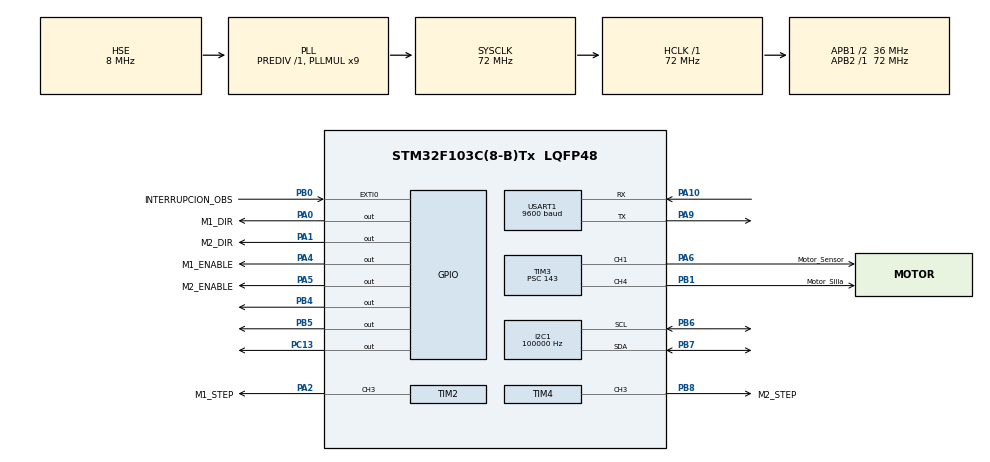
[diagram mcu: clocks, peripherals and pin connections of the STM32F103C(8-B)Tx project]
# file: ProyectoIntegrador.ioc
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I2C1.ClockSpeed=100000
I2C1.I2C_Mode=I2C_Standard
Mcu.Family=STM32F1
Mcu.Name=STM32F103C(8-B)Tx
Mcu.Package=LQFP48
NVIC.EXTI0_IRQn=true\:0\:0\:true\:false\:true\:true\:true\:true
NVIC.I2C1_ER_IRQn=true\:0\:0\:true\:false\:true\:true\:true\:true
NVIC.I2C1_EV_IRQn=true\:0\:0\:true\:false\:true\:true\:true\:true
NVIC.PriorityGroup=NVIC_PRIORITYGROUP_4
NVIC.TIM1_UP_IRQn=true\:0\:0\:true\:false\:true\:true\:true\:true
NVIC.TIM2_IRQn=true\:0\:0\:true\:false\:true\:true\:true\:true
NVIC.TIM3_IRQn=true\:0\:0\:true\:false\:true\:true\:true\:true
NVIC.TIM4_IRQn=true\:0\:0\:true\:false\:true\:true\:true\:true
NVIC.USART1_IRQn=true\:0\:0\:true\:false\:true\:true\:true\:true
PA0-WKUP.GPIO_Label=M1_DIR
PA0-WKUP.Signal=GPIO_Output
PA1.GPIO_Label=M2_DIR
PA1.Signal=GPIO_Output
PA10.Mode=Asynchronous
PA10.Signal=USART1_RX
PA13.Mode=Serial_Wire
PA13.Signal=SYS_JTMS-SWDIO
PA14.Mode=Serial_Wire
PA14.Signal=SYS_JTCK-SWCLK
PA2.GPIO_Label=M1_STEP
PA2.Signal=S_TIM2_CH3
PA4.GPIO_Label=M1_ENABLE
PA4.Signal=GPIO_Output
PA5.GPIO_Label=M2_ENABLE
PA5.Signal=GPIO_Output
PA6.GPIO_Label=Motor_Sensor
PA6.Signal=S_TIM3_CH1
PA9.GPIO_Speed=GPIO_SPEED_FREQ_MEDIUM
PA9.Mode=Asynchronous
PA9.Signal=USART1_TX
PB0.GPIO_Label=INTERRUPCION_OBS
PB0.GPIO_ModeDefaultEXTI=GPIO_MODE_IT_RISING_FALLING
PB0.GPIO_PuPd=GPIO_PULLDOWN
PB0.Signal=GPXTI0
PB1.GPIO_Label=Motor_Silla
PB1.Signal=S_TIM3_CH4
PB4.Signal=GPIO_Output
PB5.Signal=GPIO_Output
PB6.Mode=I2C
PB6.Signal=I2C1_SCL
PB7.Mode=I2C
PB7.Signal=I2C1_SDA
PB8.GPIO_Label=M2_STEP
PB8.Signal=S_TIM4_CH3
PC13-TAMPER-RTC.Signal=GPIO_Output
PD0-OSC_IN.Mode=HSE-External-Oscillator
PD0-OSC_IN.Signal=RCC_OSC_IN
PD1-OSC_OUT.Mode=HSE-External-Oscillator
PD1-OSC_OUT.Signal=RCC_OSC_OUT
ProjectManager.HeapSize=0x200
ProjectManager.StackSize=0x400
ProjectManager.TargetToolchain=STM32CubeIDE
RCC.AHBFreq_Value=72000000
RCC.APB1CLKDivider=RCC_HCLK_DIV2
RCC.APB1Freq_Value=36000000
RCC.APB1TimFreq_Value=72000000
RCC.APB2Freq_Value=72000000
RCC.APB2TimFreq_Value=72000000
RCC.HCLKFreq_Value=72000000
RCC.PLLMUL=RCC_PLL_MUL9
RCC.PLLSourceVirtual=RCC_PLLSOURCE_HSE
RCC.SYSCLKFreq_VALUE=72000000
RCC.SYSCLKSource=RCC_SYSCLKSOURCE_PLLCLK
RCC.USBFreq_Value=72000000
SH.S_TIM2_CH3.0=TIM2_CH3,PWM Generation3 CH3
SH.S_TIM3_CH1.0=TIM3_CH1,PWM Generation1 CH1
SH.S_TIM3_CH4.0=TIM3_CH4,PWM Generation4 CH4
SH.S_TIM4_CH3.0=TIM4_CH3,PWM Generation3 CH3
TIM1.Period=19
TIM1.Prescaler=3599
TIM2.Channel-PWM\ Generation3\ CH3=TIM_CHANNEL_3
TIM2.Period=7199
TIM2.Prescaler=999
TIM2.Pulse-PWM\ Generation3\ CH3=3500
TIM3.Channel-PWM\ Generation1\ CH1=TIM_CHANNEL_1
TIM3.Channel-PWM\ Generation4\ CH4=TIM_CHANNEL_4
TIM3.Period=9999
TIM3.Prescaler=143
TIM3.Pulse-PWM\ Generation1\ CH1=749
TIM3.Pulse-PWM\ Generation4\ CH4=749
TIM4.Channel-PWM\ Generation3\ CH3=TIM_CHANNEL_3
TIM4.Period=7199
TIM4.Prescaler=999
TIM4.Pulse-PWM\ Generation3\ CH3=3500
USART1.BaudRate=9600
USART1.VirtualMode=VM_ASYNC
VP_TIM1_VS_ClockSourceINT.Mode=Internal
VP_TIM2_VS_ClockSourceINT.Mode=Internal
VP_TIM3_VS_ClockSourceINT.Mode=Internal
VP_TIM4_VS_ClockSourceINT.Mode=Internal
board=custom

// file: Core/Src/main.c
/* USER CODE BEGIN Header */
/**
  ******************************************************************************
  * @file           : main.c
  * @brief          : Main program body
  ******************************************************************************
  * @attention
  *
  * Copyright (c) 2023 STMicroelectronics.
  * All rights reserved.
  *
  * This software is licensed under terms that can be found in the LICENSE file
  * in the root directory of this software component.
  * If no LICENSE file comes with this software, it is provided AS-IS.
  *
  ******************************************************************************
  */
/* USER CODE END Header */
#include "main.h"

/* USER CODE BEGIN PM */

//////////////////////////////////// Librerias utilizadas
#include "stdio.h"
#include "string.h"
#include "math.h"
#include <stdlib.h>
#include <stdbool.h>
#include <ctype.h>
#include "stm32f1xx_hal.h"
////////////////////////////////////

//////////////////////////////////// Definiciones
#define ValorMinCCR 99
#define RAD_TO_DEG 57.2957795131f
#define MPU6050_ADDRESS 0xD0
#define ACELERACION_RAMP_INICIO 0.1
#define ACELERACION_RAMP_FINAL 0.1
#define Buf_Max 20
#define X_MAX_DIFF 485
#define Y_MAX_DIFF 485
#define MAX_SPEED 510
#define MAX_SPEED_X 500
#define MAX_SPEED_Y 1000
#define CORRECTION_VALUE 5
#define PWM_MIN 50
#define PWM_MAX 100
#define X_CENTER 510
#define Y_CENTER 510
#define JOYSTICK_TOLERANCE 30
#define ALPHA 0.999
#define THRESHOLD 0.001
#define JOYSTICK_DEADZONE 300
#define UMBRAL_MOVIMIENTO 2.0
#define NUM_LECTURAS 3
#define UMBRAL_CONSISTENCIA 2.0
#define Angle_0 0

#define INTERVALO_ECO 500
#define MAX_INTENTOS_SIN_RESPUESTA 3

////////////////////////////////////

//////////////////////////////////// Variables globales

volatile uint32_t contadorEco = 0;
volatile uint8_t intentosSinRespuesta = 0;
float ultimaPosicionSignificativa = 0;
float lecturasAngulo[NUM_LECTURAS] = {0};
int indiceLectura = 0;
#define ALPHA_FILTRO 0.1
#define UMBRAL_VIBRACION 1.2
static float axFiltrado = 0, ayFiltrado = 0, azFiltrado = 0;

enum estado {
    ENERGIZADA,
    ANDANDO,
	BLOQUEADA,
};
volatile enum estado ESTADO;
const char* stateStr = NULL;
const char* OK = "K\r";
typedef struct {
    float ax, ay, az, gx, gy, gz;
    float Acc;
    float Gy;
    float Angle;
} MPU6050_Data;
MPU6050_Data mpuData;

typedef struct {
    uint8_t xData[5];
    uint8_t yData[5];
    uint16_t x;
    uint16_t y;
} JoystickData;
JoystickData joystick;

typedef struct {
    uint16_t velocidadPrev;
    uint16_t velocidadObjetivo;
    uint16_t CCR;
    uint8_t paso;
    uint16_t contador;
    uint8_t dir;
    uint8_t dirPrev;
    uint16_t diferenciaprincipal;
    uint16_t Prescaler;
    uint16_t flag;
} MotorState;
MotorState motor1State, motor2State;

uint8_t Buffer[Buf_Max];
uint8_t RData;

uint32_t Frec=0;

uint16_t valor_pwm_silla;
uint16_t valor_pwm_sensor;
uint8_t obstaculo = 1;
uint8_t command_index = 0;

uint8_t Min_CCR = 49;
uint16_t Angulo;

uint8_t data_tx[2];
uint8_t data_rx[15];

float gyroRate = 0.0;
float Angleprev;
float complementaryAngle = 0.0;
uint32_t previousTime = 0;
uint8_t flagMPU;
volatile uint8_t procesarMPU = 0;
////////////////////////////////////

//////////////////////////////////// Declaracion de funciones
void Interpretar_Comando(void);
void ProcessReceivedData(uint8_t);
void HandleCommandE(void);
void HandleCombinedXYCommand(void);
void HandleCommandE(void);
void HandleCommandA(void);
void HandleCommandB(void);
void SendCurrentState(void);

void Accionar_Motor_Silla (float);
void Accionar_Motor_Sensor();

void MPU6050_Init(void);
void MPU6050_Reset(void);
void AccionarMPU(void);
uint8_t MPU6050_Read_Data(void);
float MPU6050_Get_ax(void);
float MPU6050_Get_ay(void);
float MPU6050_Get_az(void);
float MPU6050_Get_Gx(void);
float MPU6050_Get_Gy(void);
float MPU6050_Get_Gz(void);
float MPU6050_Get_Temperature(void);

void InicializarMotorState(MotorState *);
uint16_t Valor_Prescaler(uint16_t, MotorState *);
void calcularVelocidadMotores(void);
void Rampa_Motor(MotorState *, TIM_HandleTypeDef *, uint32_t, uint16_t, uint16_t);
void calcularpaso(MotorState *);

bool isJoystickAtCenterY(void);
bool isJoystickAtCenterX(void);

float CalcularPromedio(float *, int);
bool VerificarConsistencia(float *, int, float);
float filtroPasoBajo(float, float, float);

void MiDelay(uint32_t);
////////////////////////////////////

/* USER CODE END PM */

I2C_HandleTypeDef hi2c1;

TIM_HandleTypeDef htim1;
TIM_HandleTypeDef htim2;
TIM_HandleTypeDef htim3;
TIM_HandleTypeDef htim4;

UART_HandleTypeDef huart1;

void SystemClock_Config(void);
static void MX_GPIO_Init(void);
static void MX_USART1_UART_Init(void);
static void MX_TIM3_Init(void);
static void MX_TIM2_Init(void);
static void MX_I2C1_Init(void);
static void MX_TIM1_Init(void);
static void MX_TIM4_Init(void);

int main(void)
{

  /* MCU Configuration--------------------------------------------------------*/

  /* Reset of all peripherals, Initializes the Flash interface and the Systick. */
  HAL_Init();

  /* Configure the system clock */
  SystemClock_Config();

  /* Initialize all configured peripherals */
  MX_GPIO_Init();
  MX_USART1_UART_Init();
  MX_TIM3_Init();
  MX_TIM2_Init();
  MX_I2C1_Init();
  MX_TIM1_Init();
  MX_TIM4_Init();
  /* USER CODE BEGIN 2 */

  InicializarMotorState(&motor1State);
  InicializarMotorState(&motor2State);

  ESTADO = ENERGIZADA;

  HAL_TIM_Base_Start_IT(&htim1);
  HAL_TIM_Base_Start_IT(&htim2);
  HAL_TIM_Base_Start_IT(&htim3);
  HAL_TIM_Base_Start_IT(&htim4);

  HAL_TIM_PWM_Start(&htim3, TIM_CHANNEL_1); // MOTOR SENSOR
  HAL_TIM_PWM_Start(&htim3, TIM_CHANNEL_4); // MOTOR SILLA

  HAL_GPIO_WritePin(GPIOA, M1_ENABLE_Pin, GPIO_PIN_SET);
  HAL_GPIO_WritePin(GPIOA, M2_ENABLE_Pin, GPIO_PIN_SET);

  HAL_UART_Receive_IT(&huart1,&RData, 1);

  MPU6050_Init();

  SendCurrentState();
  HAL_TIM_PWM_Stop(&htim3, TIM_CHANNEL_1); // MOTOR SENSOR
  HAL_TIM_PWM_Stop(&htim3, TIM_CHANNEL_4); // MOTOR SILLA
  /* USER CODE END 2 */

  /* Infinite loop */
  while (1)
  {

    /* USER CODE BEGIN 3 */
	if (procesarMPU) {
		AccionarMPU();
		procesarMPU = 0;
	}
  }
  /* USER CODE END 3 */
}

void SystemClock_Config(void)
{
  RCC_OscInitTypeDef RCC_OscInitStruct = {0};
  RCC_ClkInitTypeDef RCC_ClkInitStruct = {0};

  /** Initializes the RCC Oscillators according to the specified parameters
  * in the RCC_OscInitTypeDef structure.
  */
  RCC_OscInitStruct.OscillatorType = RCC_OSCILLATORTYPE_HSE;
  RCC_OscInitStruct.HSEState = RCC_HSE_ON;
  RCC_OscInitStruct.HSEPredivValue = RCC_HSE_PREDIV_DIV1;
  RCC_OscInitStruct.HSIState = RCC_HSI_ON;
  RCC_OscInitStruct.PLL.PLLState = RCC_PLL_ON;
  RCC_OscInitStruct.PLL.PLLSource = RCC_PLLSOURCE_HSE;
  RCC_OscInitStruct.PLL.PLLMUL = RCC_PLL_MUL9;
  if (HAL_RCC_OscConfig(&RCC_OscInitStruct) != HAL_OK)
  {
    Error_Handler();
  }

  /** Initializes the CPU, AHB and APB buses clocks
  */
  RCC_ClkInitStruct.ClockType = RCC_CLOCKTYPE_HCLK|RCC_CLOCKTYPE_SYSCLK
                              |RCC_CLOCKTYPE_PCLK1|RCC_CLOCKTYPE_PCLK2;
  RCC_ClkInitStruct.SYSCLKSource = RCC_SYSCLKSOURCE_PLLCLK;
  RCC_ClkInitStruct.AHBCLKDivider = RCC_SYSCLK_DIV1;
  RCC_ClkInitStruct.APB1CLKDivider = RCC_HCLK_DIV2;
  RCC_ClkInitStruct.APB2CLKDivider = RCC_HCLK_DIV1;

  if (HAL_RCC_ClockConfig(&RCC_ClkInitStruct, FLASH_LATENCY_2) != HAL_OK)
  {
    Error_Handler();
  }
}

static void MX_I2C1_Init(void)
{

  hi2c1.Instance = I2C1;
  hi2c1.Init.ClockSpeed = 100000;
  hi2c1.Init.DutyCycle = I2C_DUTYCYCLE_2;
  hi2c1.Init.OwnAddress1 = 0;
  hi2c1.Init.AddressingMode = I2C_ADDRESSINGMODE_7BIT;
  hi2c1.Init.DualAddressMode = I2C_DUALADDRESS_DISABLE;
  hi2c1.Init.OwnAddress2 = 0;
  hi2c1.Init.GeneralCallMode = I2C_GENERALCALL_DISABLE;
  hi2c1.Init.NoStretchMode = I2C_NOSTRETCH_DISABLE;
  if (HAL_I2C_Init(&hi2c1) != HAL_OK)
  {
    Error_Handler();
  }

}

static void MX_TIM1_Init(void)
{

  TIM_ClockConfigTypeDef sClockSourceConfig = {0};
  TIM_MasterConfigTypeDef sMasterConfig = {0};

  htim1.Instance = TIM1;
  htim1.Init.Prescaler = 3599;
  htim1.Init.CounterMode = TIM_COUNTERMODE_UP;
  htim1.Init.Period = 19;
  htim1.Init.ClockDivision = TIM_CLOCKDIVISION_DIV1;
  htim1.Init.RepetitionCounter = 0;
  htim1.Init.AutoReloadPreload = TIM_AUTORELOAD_PRELOAD_DISABLE;
  if (HAL_TIM_Base_Init(&htim1) != HAL_OK)
  {
    Error_Handler();
  }
  sClockSourceConfig.ClockSource = TIM_CLOCKSOURCE_INTERNAL;
  if (HAL_TIM_ConfigClockSource(&htim1, &sClockSourceConfig) != HAL_OK)
  {
    Error_Handler();
  }
  sMasterConfig.MasterOutputTrigger = TIM_TRGO_RESET;
  sMasterConfig.MasterSlaveMode = TIM_MASTERSLAVEMODE_DISABLE;
  if (HAL_TIMEx_MasterConfigSynchronization(&htim1, &sMasterConfig) != HAL_OK)
  {
    Error_Handler();
  }

}

static void MX_TIM2_Init(void)
{

  TIM_ClockConfigTypeDef sClockSourceConfig = {0};
  TIM_MasterConfigTypeDef sMasterConfig = {0};
  TIM_OC_InitTypeDef sConfigOC = {0};

  htim2.Instance = TIM2;
  htim2.Init.Prescaler = 999;
  htim2.Init.CounterMode = TIM_COUNTERMODE_UP;
  htim2.Init.Period = 7199;
  htim2.Init.ClockDivision = TIM_CLOCKDIVISION_DIV1;
  htim2.Init.AutoReloadPreload = TIM_AUTORELOAD_PRELOAD_DISABLE;
  if (HAL_TIM_Base_Init(&htim2) != HAL_OK)
  {
    Error_Handler();
  }
  sClockSourceConfig.ClockSource = TIM_CLOCKSOURCE_INTERNAL;
  if (HAL_TIM_ConfigClockSource(&htim2, &sClockSourceConfig) != HAL_OK)
  {
    Error_Handler();
  }
  if (HAL_TIM_PWM_Init(&htim2) != HAL_OK)
  {
    Error_Handler();
  }
  sMasterConfig.MasterOutputTrigger = TIM_TRGO_RESET;
  sMasterConfig.MasterSlaveMode = TIM_MASTERSLAVEMODE_DISABLE;
  if (HAL_TIMEx_MasterConfigSynchronization(&htim2, &sMasterConfig) != HAL_OK)
  {
    Error_Handler();
  }
  sConfigOC.OCMode = TIM_OCMODE_PWM1;
  sConfigOC.Pulse = 3500;
  sConfigOC.OCPolarity = TIM_OCPOLARITY_HIGH;
  sConfigOC.OCFastMode = TIM_OCFAST_DISABLE;
  if (HAL_TIM_PWM_ConfigChannel(&htim2, &sConfigOC, TIM_CHANNEL_3) != HAL_OK)
  {
    Error_Handler();
  }
  HAL_TIM_MspPostInit(&htim2);

}

static void MX_TIM3_Init(void)
{

  TIM_ClockConfigTypeDef sClockSourceConfig = {0};
  TIM_MasterConfigTypeDef sMasterConfig = {0};
  TIM_OC_InitTypeDef sConfigOC = {0};

  htim3.Instance = TIM3;
  htim3.Init.Prescaler = 143;
  htim3.Init.CounterMode = TIM_COUNTERMODE_UP;
  htim3.Init.Period = 9999;
  htim3.Init.ClockDivision = TIM_CLOCKDIVISION_DIV1;
  htim3.Init.AutoReloadPreload = TIM_AUTORELOAD_PRELOAD_DISABLE;
  if (HAL_TIM_Base_Init(&htim3) != HAL_OK)
  {
    Error_Handler();
  }
  sClockSourceConfig.ClockSource = TIM_CLOCKSOURCE_INTERNAL;
  if (HAL_TIM_ConfigClockSource(&htim3, &sClockSourceConfig) != HAL_OK)
  {
    Error_Handler();
  }
  if (HAL_TIM_PWM_Init(&htim3) != HAL_OK)
  {
    Error_Handler();
  }
  sMasterConfig.MasterOutputTrigger = TIM_TRGO_RESET;
  sMasterConfig.MasterSlaveMode = TIM_MASTERSLAVEMODE_DISABLE;
  if (HAL_TIMEx_MasterConfigSynchronization(&htim3, &sMasterConfig) != HAL_OK)
  {
    Error_Handler();
  }
  sConfigOC.OCMode = TIM_OCMODE_PWM1;
  sConfigOC.Pulse = 749;
  sConfigOC.OCPolarity = TIM_OCPOLARITY_HIGH;
  sConfigOC.OCFastMode = TIM_OCFAST_DISABLE;
  if (HAL_TIM_PWM_ConfigChannel(&htim3, &sConfigOC, TIM_CHANNEL_1) != HAL_OK)
  {
    Error_Handler();
  }
  if (HAL_TIM_PWM_ConfigChannel(&htim3, &sConfigOC, TIM_CHANNEL_4) != HAL_OK)
  {
    Error_Handler();
  }
  HAL_TIM_MspPostInit(&htim3);

}

static void MX_TIM4_Init(void)
{

  TIM_ClockConfigTypeDef sClockSourceConfig = {0};
  TIM_MasterConfigTypeDef sMasterConfig = {0};
  TIM_OC_InitTypeDef sConfigOC = {0};

  htim4.Instance = TIM4;
  htim4.Init.Prescaler = 999;
  htim4.Init.CounterMode = TIM_COUNTERMODE_UP;
  htim4.Init.Period = 7199;
  htim4.Init.ClockDivision = TIM_CLOCKDIVISION_DIV1;
  htim4.Init.AutoReloadPreload = TIM_AUTORELOAD_PRELOAD_DISABLE;
  if (HAL_TIM_Base_Init(&htim4) != HAL_OK)
  {
    Error_Handler();
  }
  sClockSourceConfig.ClockSource = TIM_CLOCKSOURCE_INTERNAL;
  if (HAL_TIM_ConfigClockSource(&htim4, &sClockSourceConfig) != HAL_OK)
  {
    Error_Handler();
  }
  if (HAL_TIM_PWM_Init(&htim4) != HAL_OK)
  {
    Error_Handler();
  }
  sMasterConfig.MasterOutputTrigger = TIM_TRGO_RESET;
  sMasterConfig.MasterSlaveMode = TIM_MASTERSLAVEMODE_DISABLE;
  if (HAL_TIMEx_MasterConfigSynchronization(&htim4, &sMasterConfig) != HAL_OK)
  {
    Error_Handler();
  }
  sConfigOC.OCMode = TIM_OCMODE_PWM1;
  sConfigOC.Pulse = 3500;
  sConfigOC.OCPolarity = TIM_OCPOLARITY_HIGH;
  sConfigOC.OCFastMode = TIM_OCFAST_DISABLE;
  if (HAL_TIM_PWM_ConfigChannel(&htim4, &sConfigOC, TIM_CHANNEL_3) != HAL_OK)
  {
    Error_Handler();
  }
  HAL_TIM_MspPostInit(&htim4);

}

static void MX_USART1_UART_Init(void)
{

  huart1.Instance = USART1;
  huart1.Init.BaudRate = 9600;
  huart1.Init.WordLength = UART_WORDLENGTH_8B;
  huart1.Init.StopBits = UART_STOPBITS_1;
  huart1.Init.Parity = UART_PARITY_NONE;
  huart1.Init.Mode = UART_MODE_TX_RX;
  huart1.Init.HwFlowCtl = UART_HWCONTROL_NONE;
  huart1.Init.OverSampling = UART_OVERSAMPLING_16;
  if (HAL_UART_Init(&huart1) != HAL_OK)
  {
    Error_Handler();
  }

}

static void MX_GPIO_Init(void)
{
  GPIO_InitTypeDef GPIO_InitStruct = {0};

  /* GPIO Ports Clock Enable */
  __HAL_RCC_GPIOC_CLK_ENABLE();
  __HAL_RCC_GPIOD_CLK_ENABLE();
  __HAL_RCC_GPIOA_CLK_ENABLE();
  __HAL_RCC_GPIOB_CLK_ENABLE();

  /*Configure GPIO pin Output Level */
  HAL_GPIO_WritePin(GPIOC, GPIO_PIN_13, GPIO_PIN_RESET);

  /*Configure GPIO pin Output Level */
  HAL_GPIO_WritePin(GPIOA, M1_DIR_Pin|M2_DIR_Pin|M1_ENABLE_Pin|M2_ENABLE_Pin, GPIO_PIN_RESET);

  /*Configure GPIO pin Output Level */
  HAL_GPIO_WritePin(GPIOB, GPIO_PIN_4|GPIO_PIN_5, GPIO_PIN_RESET);

  /*Configure GPIO pin : PC13 */
  GPIO_InitStruct.Pin = GPIO_PIN_13;
  GPIO_InitStruct.Mode = GPIO_MODE_OUTPUT_PP;
  GPIO_InitStruct.Pull = GPIO_NOPULL;
  GPIO_InitStruct.Speed = GPIO_SPEED_FREQ_LOW;
  HAL_GPIO_Init(GPIOC, &GPIO_InitStruct);

  /*Configure GPIO pins : M1_DIR_Pin M2_DIR_Pin M1_ENABLE_Pin M2_ENABLE_Pin */
  GPIO_InitStruct.Pin = M1_DIR_Pin|M2_DIR_Pin|M1_ENABLE_Pin|M2_ENABLE_Pin;
  GPIO_InitStruct.Mode = GPIO_MODE_OUTPUT_PP;
  GPIO_InitStruct.Pull = GPIO_NOPULL;
  GPIO_InitStruct.Speed = GPIO_SPEED_FREQ_LOW;
  HAL_GPIO_Init(GPIOA, &GPIO_InitStruct);

  /*Configure GPIO pin : INTERRUPCION_OBS_Pin */
  GPIO_InitStruct.Pin = INTERRUPCION_OBS_Pin;
  GPIO_InitStruct.Mode = GPIO_MODE_IT_RISING_FALLING;
  GPIO_InitStruct.Pull = GPIO_PULLDOWN;
  HAL_GPIO_Init(INTERRUPCION_OBS_GPIO_Port, &GPIO_InitStruct);

  /*Configure GPIO pins : PB4 PB5 */
  GPIO_InitStruct.Pin = GPIO_PIN_4|GPIO_PIN_5;
  GPIO_InitStruct.Mode = GPIO_MODE_OUTPUT_PP;
  GPIO_InitStruct.Pull = GPIO_NOPULL;
  GPIO_InitStruct.Speed = GPIO_SPEED_FREQ_LOW;
  HAL_GPIO_Init(GPIOB, &GPIO_InitStruct);

  /* EXTI interrupt init*/
  HAL_NVIC_SetPriority(EXTI0_IRQn, 0, 0);
  HAL_NVIC_EnableIRQ(EXTI0_IRQn);

}

/* USER CODE BEGIN 4 */

//////////////////////////////////// Comunicacion por UART
void HAL_UART_RxCpltCallback(UART_HandleTypeDef *huart) {
    if (huart->Instance == USART1) {
        ProcessReceivedData(RData);
        HAL_UART_Receive_IT(&huart1, &RData, 1);
    }
}

//////////////////////////////////// Inicializar valores de los motores en 0
void InicializarMotorState(MotorState *motor) {
    motor->velocidadPrev = 0;
    motor->velocidadObjetivo = 0;
    motor->paso = 0;
    motor->contador = 0;
    motor->dir = GPIO_PIN_RESET;
    motor->flag = 0;
}

//////////////////////////////////// Procesamiento de mensajes
void ProcessReceivedData(uint8_t data) {

   	if (data == '\n') {
		Buffer[command_index] = '\0';
		Interpretar_Comando();
		command_index = 0;
		memset(Buffer, 0, sizeof(Buffer));
	} else if (command_index < Buf_Max - 1) {
		Buffer[command_index++] = data;
	}
}

void Interpretar_Comando() {
    if (Buffer[0] == 'X' && strchr((char*)Buffer, 'Y')) {
        HandleCombinedXYCommand();
    } else {
        switch (Buffer[0]) {
            case 'A': HandleCommandA(); break;
            case 'B': HandleCommandB(); break;
            case 'E': HandleCommandE(); break;
            case 'K': intentosSinRespuesta = 0; break;
            default: break;
        }
    }
    if (ESTADO == ANDANDO) {
        calcularVelocidadMotores();
        Accionar_Motor_Sensor();
    }
}

void HandleCombinedXYCommand() {

    char* yPosition = strchr((char*)Buffer, 'Y');

    if (yPosition) {
        *yPosition = '\0';
        joystick.x = atoi((char*)(Buffer + 2));
        joystick.y = atoi((char*)(yPosition + 2));
    }
}

void HandleCommandA() {

	joystick.x = 510;
	joystick.y = 510;

    HAL_TIM_PWM_Start(&htim3, TIM_CHANNEL_1); // MOTOR SENSOR
    HAL_TIM_PWM_Start(&htim3, TIM_CHANNEL_4); // MOTOR SILLA
    HAL_TIM_PWM_Start(&htim2, TIM_CHANNEL_3); // MOTOR 1
    HAL_TIM_PWM_Start(&htim4, TIM_CHANNEL_3); // MOTOR 2

    HAL_GPIO_WritePin(GPIOA, M1_ENABLE_Pin, GPIO_PIN_RESET);
    HAL_GPIO_WritePin(GPIOA, M2_ENABLE_Pin, GPIO_PIN_RESET);

    ESTADO = ANDANDO;
    SendCurrentState();
}

void HandleCommandB() {
    ESTADO = BLOQUEADA;
	joystick.x = 510;
	joystick.y = 510;
    calcularVelocidadMotores();
    Accionar_Motor_Sensor();

    HAL_TIM_PWM_Stop(&htim3, TIM_CHANNEL_1); // MOTOR SENSOR
    HAL_TIM_PWM_Start(&htim3, TIM_CHANNEL_4); // MOTOR SILLA
    HAL_TIM_PWM_Start(&htim2, TIM_CHANNEL_3); // MOTOR 1
    HAL_TIM_PWM_Start(&htim4, TIM_CHANNEL_3); // MOTOR 2

    HAL_GPIO_WritePin(GPIOA, M1_ENABLE_Pin, GPIO_PIN_SET);
    HAL_GPIO_WritePin(GPIOA, M2_ENABLE_Pin, GPIO_PIN_SET);

    SendCurrentState();
}

void HandleCommandE() {
    ESTADO = ENERGIZADA;
	joystick.x = 510;
	joystick.y = 510;
    calcularVelocidadMotores();
    Accionar_Motor_Sensor();

    HAL_TIM_PWM_Stop(&htim3, TIM_CHANNEL_1); // MOTOR SENSOR
    HAL_TIM_PWM_Stop(&htim3, TIM_CHANNEL_4); // MOTOR SILLA
    HAL_TIM_PWM_Stop(&htim2, TIM_CHANNEL_3); // MOTOR 1
    HAL_TIM_PWM_Stop(&htim4, TIM_CHANNEL_3); // MOTOR 2

    HAL_GPIO_WritePin(GPIOA, M1_ENABLE_Pin, GPIO_PIN_SET);
    HAL_GPIO_WritePin(GPIOA, M2_ENABLE_Pin, GPIO_PIN_SET);

    SendCurrentState();
}
////////////////////////////////////
//////////////////////////////////// Envio de estado por UART
void SendCurrentState() {

    switch (ESTADO) {
        case ANDANDO:
            stateStr = "A\r";
            break;
        case BLOQUEADA:
            stateStr = "B\r";
            break;
        case ENERGIZADA:
            stateStr = "E\r";
            break;
        default:
            break;
    }
    HAL_UART_Transmit(&huart1, (uint8_t*)stateStr, strlen(stateStr), HAL_MAX_DELAY);
}

//////////////////////////////////// Calculo de la velocidad de los motores
void calcularVelocidadMotores() {

    int16_t diffX = joystick.x - X_CENTER;
    int16_t diffY = joystick.y - Y_CENTER;

    if(isJoystickAtCenterX() && isJoystickAtCenterY()) {
        motor1State.velocidadObjetivo = 0;
        motor2State.velocidadObjetivo = 0;
        motor1State.contador= 1;
        motor2State.contador= 1;
        motor1State.diferenciaprincipal= abs(motor1State.velocidadObjetivo - motor1State.velocidadPrev);
		motor2State.diferenciaprincipal= abs(motor1State.velocidadObjetivo - motor2State.velocidadPrev);

		return;
    }
    else if(!obstaculo && diffY > 0) {
        motor1State.velocidadObjetivo = 0;
        motor2State.velocidadObjetivo = 0;
        motor1State.contador= 1;
		motor2State.contador= 1;
		motor1State.diferenciaprincipal= abs(motor1State.velocidadObjetivo - motor1State.velocidadPrev);
		motor2State.diferenciaprincipal= abs(motor1State.velocidadObjetivo - motor2State.velocidadPrev);

		return;
    }
    else if(isJoystickAtCenterY()) {
        if(obstaculo) {
            if(diffX > 0) {
                motor1State.velocidadObjetivo = abs(diffX/2);
                motor2State.velocidadObjetivo = 0;
                motor1State.dir = GPIO_PIN_SET;
            } else {
                motor1State.velocidadObjetivo = 0;
                motor2State.velocidadObjetivo = abs(diffX/2);
				motor2State.dir = GPIO_PIN_RESET;
            }
        } else {
            motor1State.velocidadObjetivo = 0;
            motor2State.velocidadObjetivo = 0;
        }
        motor1State.contador= 1;
		motor2State.contador= 1;
		motor1State.diferenciaprincipal= abs(motor1State.velocidadObjetivo - motor1State.velocidadPrev);
		motor2State.diferenciaprincipal= abs(motor1State.velocidadObjetivo - motor2State.velocidadPrev);

		return;
    }
    else if(obstaculo && isJoystickAtCenterX()) {
        motor1State.velocidadObjetivo = abs(diffY);
        motor2State.velocidadObjetivo = abs(diffY);
        motor1State.dir = diffY > 0 ? GPIO_PIN_SET : GPIO_PIN_RESET;
        motor2State.dir = diffY > 0 ? GPIO_PIN_RESET : GPIO_PIN_SET;
        motor1State.contador= 1;
		motor2State.contador= 1;
		motor1State.diferenciaprincipal= abs(motor1State.velocidadObjetivo - motor1State.velocidadPrev);
		motor2State.diferenciaprincipal= abs(motor1State.velocidadObjetivo - motor2State.velocidadPrev);

		return;
    }
    else{
    motor1State.dir = diffY > 0 ? GPIO_PIN_SET : GPIO_PIN_RESET;
    motor2State.dir = diffY > 0 ? GPIO_PIN_RESET : GPIO_PIN_SET;

    //////////////////////////////////// Ajuste proporcional de velocidad
    float magnitude = sqrt(diffX * diffX + diffY * diffY);  // Calcula la magnitud del vector de diferencia.
    float factorXFromCenter = (float)abs(diffX) / X_MAX_DIFF;  // Calcula el factor proporcional en X.
    float normalizedMagnitude = (magnitude / sqrt(X_MAX_DIFF * X_MAX_DIFF + Y_MAX_DIFF * Y_MAX_DIFF)) * MAX_SPEED;  // Normaliza la magnitud y la ajusta a la velocidad máxima.
    float speedAdjust = factorXFromCenter * 0.5f * normalizedMagnitude;  // Determina el ajuste de velocidad en base al factor X.

    motor1State.velocidadObjetivo = normalizedMagnitude + (diffX > 0 ? speedAdjust : -speedAdjust);
    motor2State.velocidadObjetivo = normalizedMagnitude - (diffX > 0 ? speedAdjust : -speedAdjust);

    motor1State.contador= 1;
	motor2State.contador= 1;
    motor1State.diferenciaprincipal= abs(motor1State.velocidadObjetivo - motor1State.velocidadPrev);
	motor2State.diferenciaprincipal= abs(motor1State.velocidadObjetivo - motor2State.velocidadPrev);
	return;
    }
}

bool isJoystickAtCenterX() {
    return (joystick.x > (X_CENTER - JOYSTICK_TOLERANCE) && joystick.x < (X_CENTER + JOYSTICK_TOLERANCE));
}
bool isJoystickAtCenterY() {
    return (joystick.y > (Y_CENTER - JOYSTICK_TOLERANCE) && joystick.y < (Y_CENTER + JOYSTICK_TOLERANCE));
}

void calcularpaso(MotorState *motor)
{	uint8_t valorpaso=0;
	uint16_t diferencia=0;

	if (motor->dir == motor->dirPrev)
	{
		diferencia=abs(motor->velocidadPrev - motor->velocidadObjetivo);
	}
	else
	{
		diferencia = abs (motor->velocidadObjetivo + motor->velocidadPrev);
	}
	if (((motor->diferenciaprincipal)/2) > (motor->contador)){

		if ((motor->contador)>400)
		{
			valorpaso=5;
		}
		else if ((motor->contador)>250)
		{
			valorpaso=4;
		}
		else if ((motor->contador)>150)
		{
			valorpaso=3;
		}
		else if ((motor->contador)>50)
		{
			valorpaso=2;
		}
		else if ((motor->contador)>0)
		{
			valorpaso=1;
		}
	}
	else{

		if (diferencia>400)
		{
			valorpaso=5;
		}
		else if (diferencia>250)
		{
			valorpaso=4;
		}
		else if (diferencia>150)
		{
			valorpaso=3;
		}
		else if (diferencia>50)
		{
			valorpaso=2;
		}
		else if (diferencia>0)
		{
			valorpaso=1;
		}
	}
	motor->paso=valorpaso;
}

uint16_t Valor_Prescaler(uint16_t valor, MotorState *motor)
{
	if (valor<2) valor=0;
	if(valor > 510) valor = 510;

	Frec = abs(round((valor * 120 / 460) + 30));

    uint16_t Prescaler = round((10000 / Frec ) - 1);

    return Prescaler;
}

void Rampa_Motor(MotorState *motor, TIM_HandleTypeDef *htimx, uint32_t channel, uint16_t direccionPin, uint16_t ENABLE_Pin) {

	if (motor->dir != motor->dirPrev) {
        if (motor->velocidadPrev != 0) {
            motor->velocidadPrev--;
            uint32_t Prescaler_value = round(Valor_Prescaler(motor->velocidadPrev, motor));
            __HAL_TIM_SET_PRESCALER(htimx, Prescaler_value);

            motor->Prescaler = Prescaler_value;
        } else if (motor->velocidadPrev == 0) {
            HAL_GPIO_WritePin(GPIOA, direccionPin, motor->dir);
            motor->dirPrev = motor->dir;
        }
    } else {
        int16_t diferencia = motor->velocidadObjetivo - motor->velocidadPrev;
        if (diferencia != 0) {
            motor->velocidadPrev += (diferencia > 0) ? 1 : -1;
            uint32_t Prescaler_value = round(Valor_Prescaler(motor->velocidadPrev, motor));
            __HAL_TIM_SET_PRESCALER(htimx, Prescaler_value);
            motor->Prescaler = Prescaler_value;
        }
    }
    if (motor->velocidadPrev == 0) {
        HAL_GPIO_WritePin(GPIOA, ENABLE_Pin, GPIO_PIN_SET);
    } else {
        HAL_GPIO_WritePin(GPIOA, ENABLE_Pin, GPIO_PIN_RESET);
    }
    motor->contador++;
}

void HAL_TIM_PeriodElapsedCallback(TIM_HandleTypeDef *htim) {
    if (htim->Instance == TIM2){
  	  HAL_GPIO_TogglePin(GPIOB, GPIO_PIN_4);
  	  motor1State.flag ++;
    }
    if (htim->Instance == TIM4){
  	  HAL_GPIO_TogglePin(GPIOB, GPIO_PIN_5);
  	  motor2State.flag ++;
    }
    if (htim->Instance == TIM1 && ESTADO == ANDANDO) {

    	calcularpaso(&motor1State);
    	Rampa_Motor(&motor1State, &htim2, TIM_CHANNEL_3, M1_DIR_Pin, M1_ENABLE_Pin);

    	calcularpaso(&motor2State);
    	Rampa_Motor(&motor2State, &htim4, TIM_CHANNEL_3, M2_DIR_Pin, M2_ENABLE_Pin);
    }
    else if (htim->Instance == TIM1 && ((ESTADO == BLOQUEADA || ESTADO == ENERGIZADA) && motor1State.velocidadObjetivo==0 && motor2State.velocidadObjetivo==0 && motor1State.velocidadPrev!=0 && motor2State.velocidadPrev!=0)){

		calcularpaso(&motor1State);
		Rampa_Motor(&motor1State, &htim2, TIM_CHANNEL_3, M1_DIR_Pin, M1_ENABLE_Pin);

		calcularpaso(&motor2State);
		Rampa_Motor(&motor2State, &htim4, TIM_CHANNEL_3, M2_DIR_Pin, M2_ENABLE_Pin);
	}

    if (htim->Instance == TIM1 && (ESTADO == BLOQUEADA || ESTADO == ANDANDO))
    {
    	procesarMPU = 1;
    }

    if (htim->Instance == TIM1) {
            contadorEco++;
            if (contadorEco >= INTERVALO_ECO) {
                contadorEco = 0;
                HAL_UART_Transmit(&huart1, (uint8_t*)OK, strlen(OK), HAL_MAX_DELAY);
                intentosSinRespuesta++;
                if (intentosSinRespuesta > MAX_INTENTOS_SIN_RESPUESTA) {
                	joystick.x = 510;
                	joystick.y = 510;

                    HAL_TIM_PWM_Stop(&htim3, TIM_CHANNEL_1); // MOTOR SENSOR
                    HAL_TIM_PWM_Stop(&htim3, TIM_CHANNEL_4); // MOTOR SILLA
                    HAL_TIM_PWM_Stop(&htim2, TIM_CHANNEL_3); // MOTOR 1
                    HAL_TIM_PWM_Stop(&htim4, TIM_CHANNEL_3); // MOTOR 2

                    HAL_GPIO_WritePin(GPIOA, M1_ENABLE_Pin, GPIO_PIN_SET);
                    HAL_GPIO_WritePin(GPIOA, M2_ENABLE_Pin, GPIO_PIN_SET);
                    ESTADO = ENERGIZADA;
                    SendCurrentState();
                }
            }
    }
}

void HAL_GPIO_EXTI_Callback(uint16_t GPIO_Pin)
{
    if (GPIO_Pin == GPIO_PIN_0)
    {
        obstaculo = (HAL_GPIO_ReadPin(GPIOB, GPIO_PIN_0) == GPIO_PIN_SET) ? 1 : 0;

        if (motor1State.dirPrev == 1 || !motor2State.dirPrev){
        	motor1State.velocidadObjetivo = 0;
        	motor2State.velocidadObjetivo = 0;
        }
    }
}

void MiDelay(uint32_t delayMilliseconds) {
    uint32_t startTick = HAL_GetTick();
    while (HAL_GetTick() - startTick < delayMilliseconds) {
    }
}

void AccionarMPU() {
    flagMPU = MPU6050_Read_Data();  // Lee datos del MPU6050 y almacena el resultado en flagMPU.

    if (flagMPU == 0) {  // Si la lectura falla,
        MPU6050_Reset();
        MiDelay(100);
        MPU6050_Init();
    } else {  // Si la lectura es exitosa,
        uint32_t currentTime = HAL_GetTick();  // Obtiene el tiempo actual.
        uint32_t deltaTime = currentTime - previousTime;  // Calcula el tiempo transcurrido desde la última lectura.
        previousTime = currentTime;  // Actualiza el tiempo anterior con el actual.

        // Filtra las lecturas de aceleración en cada eje usando un filtro de paso bajo.
        axFiltrado = filtroPasoBajo(MPU6050_Get_ax(), axFiltrado, ALPHA_FILTRO);
        ayFiltrado = filtroPasoBajo(MPU6050_Get_ay(), ayFiltrado, ALPHA_FILTRO);
        azFiltrado = filtroPasoBajo(MPU6050_Get_az(), azFiltrado, ALPHA_FILTRO);

        float magnitud = sqrt(axFiltrado * axFiltrado + ayFiltrado * ayFiltrado + azFiltrado * azFiltrado);  // Calcula la magnitud de la aceleración filtrada.

        if (magnitud < UMBRAL_VIBRACION) {  // Si la magnitud está por debajo de un umbral de vibración,
            float denom = sqrt(pow(ayFiltrado, 2) + pow(azFiltrado, 2));  // Calcula el denominador para el ángulo de aceleración.
            if (denom < 0.001) {  // Si el denominador es demasiado pequeño,
                return;  // Termina la función para evitar división por cero.
            }

            // Calcula el ángulo de aceleración y la tasa del giroscopio.
            float accelAngle = atan(-1 * axFiltrado / denom) * RAD_TO_DEG;
            gyroRate = MPU6050_Get_Gx();
            // Calcula un ángulo complementario usando un filtro complementario.
            complementaryAngle = (1 - ALPHA) * (complementaryAngle + gyroRate * deltaTime) + ALPHA * accelAngle;

            // Almacena el ángulo complementario en un arreglo para análisis.
            lecturasAngulo[indiceLectura] = complementaryAngle;
            indiceLectura = (indiceLectura + 1) % NUM_LECTURAS;  // Avanza en el índice de lectura.

            // Verifica la consistencia de las lecturas del ángulo.
            if (VerificarConsistencia(lecturasAngulo, NUM_LECTURAS, UMBRAL_CONSISTENCIA)) {
                float promedioAngulo = CalcularPromedio(lecturasAngulo, NUM_LECTURAS);  // Calcula el promedio de los ángulos.

                // Si el promedio difiere significativamente de la última posición significativa,
                if (abs(promedioAngulo - ultimaPosicionSignificativa) > UMBRAL_MOVIMIENTO) {
                    Accionar_Motor_Silla(promedioAngulo);  // Actúa sobre el motor de la silla.
                    ultimaPosicionSignificativa = promedioAngulo;  // Actualiza la última posición significativa.
                }
            }
        }
    }
}

float filtroPasoBajo(float entrada, float salidaAnterior, float alpha) {
    // Combina la entrada actual con la salida anterior basándose en el factor alpha.
    // Esto suaviza la señal, permitiendo pasar solo las frecuencias bajas.
    return alpha * entrada + (1 - alpha) * salidaAnterior;
}

bool VerificarConsistencia(float *array, int longitud, float umbral) {
    float min = array[0];  // Inicializa el mínimo con el primer elemento del array.
    float max = array[0];

    // Recorre el array para encontrar los valores mínimo y máximo.
    for (int i = 1; i < longitud; i++) {
        if (array[i] < min) min = array[i];  // Actualiza el mínimo si encuentra un valor más bajo.
        if (array[i] > max) max = array[i];  // Actualiza el máximo si encuentra un valor más alto.
    }

    // Devuelve true si la diferencia entre el máximo y el mínimo es menor o igual al umbral.
    return (max - min) <= umbral;
}

float CalcularPromedio(float *array, int longitud) {
    float suma = 0.0;  // Inicializa la suma de los elementos del array.

    // Suma todos los elementos del array.
    for (int i = 0; i < longitud; i++) {
        suma += array[i];
    }

    // Devuelve el promedio de los elementos del array.
    return suma / longitud;
}

void Accionar_Motor_Silla(float angulo)
{
    if (angulo < -35) {
        angulo = -35;
    } else if (angulo > 35) {
        angulo = 35;
    }
    valor_pwm_silla = (-angulo * 80 / 30) + 750;
    TIM3->CCR4 = valor_pwm_silla;
}

void Accionar_Motor_Sensor(){
	uint16_t x = joystick.x;
	if (joystick.x > 470 && joystick.x  < 550)
	{
		x  = 1022/2;
	}
	valor_pwm_sensor = (-x * 300/1022) + 900;
	TIM3->CCR1 = valor_pwm_sensor;
}

void MPU6050_Init(void) {
    data_tx[0] = 0x6B;  // Dirección del registro de control de potencia.
    data_tx[1] = 0x00;  // Valor para activar el MPU6050 (desactivar modo de reposo).
    // Envía los datos al MPU6050 utilizando I2C.
    HAL_I2C_Master_Transmit(&hi2c1, (uint16_t)MPU6050_ADDRESS, data_tx, 2, 100);
}

void MPU6050_Reset(void) {
    uint8_t data[2];
    data[0] = 0x6B;  // Dirección del registro de control de potencia.
    data[1] = 0x80;  // Valor para resetear el MPU6050.
    // Envía los datos al MPU6050 para resetearlo.
    HAL_I2C_Master_Transmit(&hi2c1, (uint16_t)MPU6050_ADDRESS, data, 2, 100);
}

uint8_t MPU6050_Read_Data(void) {
    HAL_StatusTypeDef status;
    uint8_t regAddress = 0x3B;  // Dirección del primer registro de datos del acelerómetro.

    // Envía la dirección del registro al MPU6050.
    status = HAL_I2C_Master_Transmit(&hi2c1, (uint16_t)MPU6050_ADDRESS, &regAddress, 1, 100);

    if (status != HAL_OK) {
        return 0;  // Retorna 0 si hay un error en la transmisión.
    }

    // Recibe los datos del MPU6050.
    status = HAL_I2C_Master_Receive(&hi2c1, (uint16_t)MPU6050_ADDRESS, data_rx, 14, 100);

    // Retorna 1 si la lectura es exitosa, de lo contrario 0.
    return (status == HAL_OK) ? 1 : 0;
}

float MPU6050_Get_ax(void)
{
	return (float)(((int16_t)(data_rx[0]<<8 | data_rx[1]))/(float)16384);
}

float MPU6050_Get_ay(void)
{
	return (float)(((int16_t)(data_rx[2]<<8 | data_rx[3]))/(float)16384);
}

float MPU6050_Get_az(void)
{
	return (float)(((int16_t)(data_rx[4]<<8 | data_rx[5]))/(float)16384);
}

float MPU6050_Get_Gx(void)
{
	return (float)(((int16_t)(data_rx[10]<<8 | data_rx[11]))/(float)131);
}

float MPU6050_Get_Gy(void)
{
	return (float)(((int16_t)(data_rx[12]<<8 | data_rx[13]))/(float)131);
}

float MPU6050_Get_Gz(void)
{
	return (float)(((int16_t)(data_rx[8]<<8 | data_rx[9]))/(float)131);
}

float MPU6050_Get_Temperature(void)
{
	return (float)(((int16_t)(data_rx[6]<<8 | data_rx[7]))/(float)340 + (float)36.53);
}

/* USER CODE END 4 */

void Error_Handler(void)
{
  __disable_irq();
  while (1)
  {
  }
}
